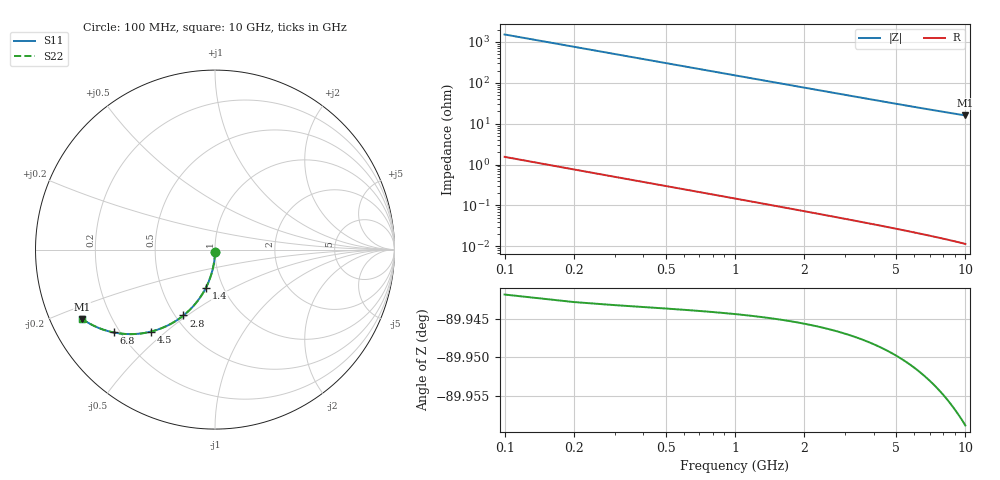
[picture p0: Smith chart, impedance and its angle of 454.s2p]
# Hz S RI R 50.00
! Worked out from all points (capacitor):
!   100 points, 100 MHz to 10 GHz, reference 50 ohm
!   read as one part in shunt: C = 1.05 pF near 100 MHz
!   lowest |Z| = 15.9 ohm at 10 GHz (marker M1)
!   S11 on the Smith chart (normalised r, x): 100 MHz: 1.00, -0.03; 1.4 GHz: 0.83, -0.37; 2.8 GHz: 0.55, -0.48; 4.5 GHz: 0.32, -0.45; 6.8 GHz: 0.18, -0.35; 10 GHz: 0.10, -0.24
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1e8  -0.000126 -0.0159  0.9996 -0.0169  0.9996 -0.0169  -0.000126 -0.0159
2e8  -0.000949 -0.0319  0.9987 -0.0338  0.9987 -0.0338  -0.000949 -0.0319
3e8  -0.00231 -0.0477  0.9974 -0.0506  0.9974 -0.0506  -0.00231 -0.0477
4e8  -0.0042 -0.0635  0.9955 -0.0674  0.9955 -0.0674  -0.0042 -0.0635
5e8  -0.00662 -0.0792  0.993 -0.084  0.993 -0.084  -0.00662 -0.0792
6e8  -0.00955 -0.0947  0.9901 -0.1005  0.9901 -0.1005  -0.00955 -0.0947
7e8  -0.013 -0.1101  0.9867 -0.1169  0.9867 -0.1169  -0.013 -0.1101
9e8  -0.0214 -0.1404  0.9783 -0.1491  0.9783 -0.1491  -0.0214 -0.1404
1.1e9  -0.0316 -0.1698  0.968 -0.1804  0.968 -0.1804  -0.0316 -0.1698
1.4e9  -0.0503 -0.2118  0.9492 -0.2253  0.9492 -0.2253  -0.0503 -0.2118
1.8e9  -0.0807 -0.2635  0.9189 -0.2809  0.9189 -0.2809  -0.0807 -0.2635
2.3e9  -0.1255 -0.32  0.8739 -0.3422  0.8739 -0.3422  -0.1255 -0.32
2.8e9  -0.1757 -0.3668  0.8236 -0.3939  0.8236 -0.3939  -0.1757 -0.3668
3.4e9  -0.2396 -0.4101  0.7596 -0.4431  0.7596 -0.4431  -0.2396 -0.4101
3.9e9  -0.2936 -0.4362  0.7054 -0.4741  0.7054 -0.4741  -0.2936 -0.4362
4.5e9  -0.3569 -0.4569  0.6417 -0.5007  0.6417 -0.5007  -0.3569 -0.4569
5.1e9  -0.4171 -0.4678  0.5813 -0.5176  0.5813 -0.5176  -0.4171 -0.4678
5.9e9  -0.4905 -0.4705  0.5074 -0.5283  0.5074 -0.5283  -0.4905 -0.4705
6.7e9  -0.5553 -0.4633  0.4421 -0.5292  0.4421 -0.5292  -0.5553 -0.4633
6.8e9  -0.5628 -0.4619  0.4346 -0.5288  0.4346 -0.5288  -0.5628 -0.4619
8.4e9  -0.6655 -0.4288  0.3306 -0.5124  0.3306 -0.5124  -0.6655 -0.4288
1e10  -0.7408 -0.3858  0.2537 -0.4864  0.2537 -0.4864  -0.7408 -0.3858
